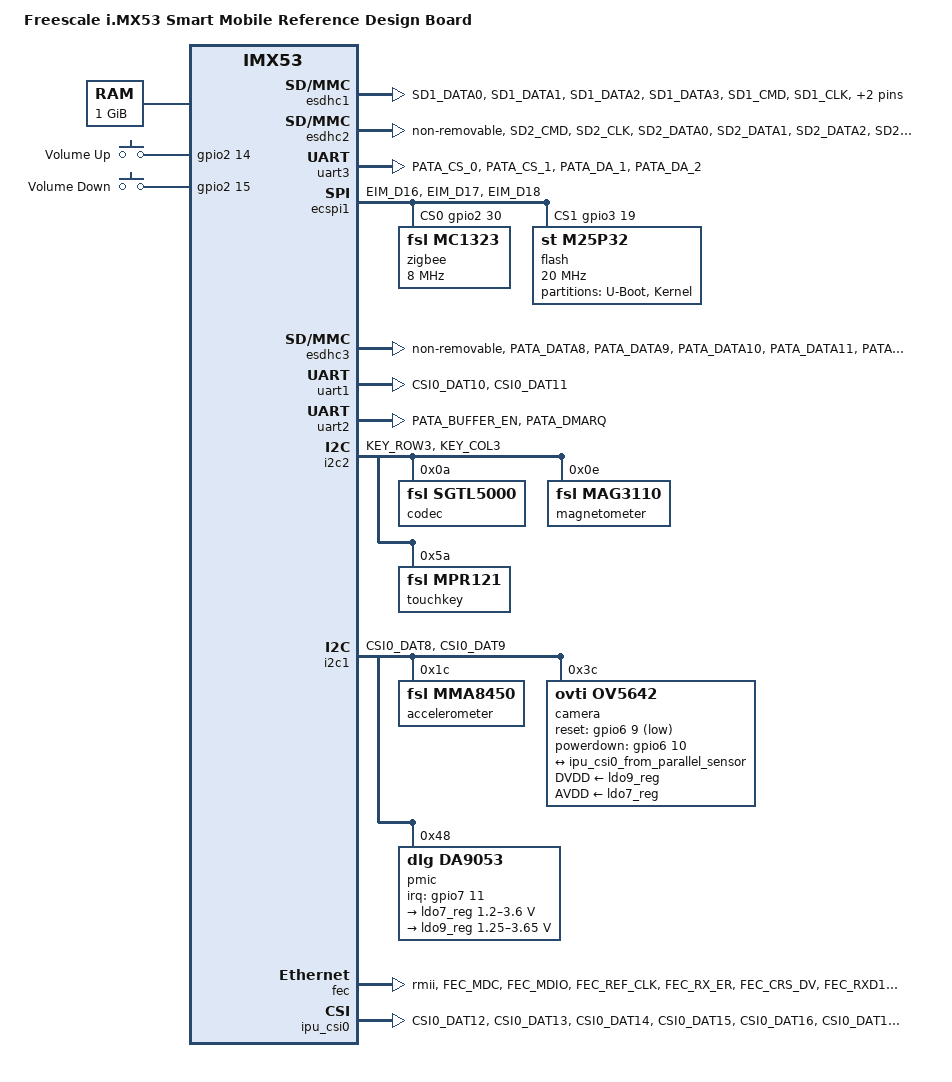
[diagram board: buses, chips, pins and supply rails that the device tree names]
// SPDX-License-Identifier: GPL-2.0+
//
// Copyright 2011 Freescale Semiconductor, Inc.
// Copyright 2011 Linaro Ltd.

/dts-v1/;
#include <dt-bindings/input/input.h>
#include "imx53.dtsi"

/ {
	model = "Freescale i.MX53 Smart Mobile Reference Design Board";
	compatible = "fsl,imx53-smd", "fsl,imx53";

	memory@70000000 {
		device_type = "memory";
		reg = <0x70000000 0x40000000>;
	};

	gpio-keys {
		compatible = "gpio-keys";

		volume-up {
			label = "Volume Up";
			gpios = <&gpio2 14 0>;
			linux,code = <KEY_VOLUMEUP>;
		};

		volume-down {
			label = "Volume Down";
			gpios = <&gpio2 15 0>;
			linux,code = <KEY_VOLUMEDOWN>;
		};
	};
};

&esdhc1 {
	pinctrl-names = "default";
	pinctrl-0 = <&pinctrl_esdhc1>;
	cd-gpios = <&gpio3 13 GPIO_ACTIVE_LOW>;
	wp-gpios = <&gpio4 11 GPIO_ACTIVE_HIGH>;
	status = "okay";
};

&esdhc2 {
	pinctrl-names = "default";
	pinctrl-0 = <&pinctrl_esdhc2>;
	non-removable;
	status = "okay";
};

&uart3 {
	pinctrl-names = "default";
	pinctrl-0 = <&pinctrl_uart3>;
	uart-has-rtscts;
	status = "okay";
};

&ecspi1 {
	pinctrl-names = "default";
	pinctrl-0 = <&pinctrl_ecspi1>;
	cs-gpios = <&gpio2 30 0>, <&gpio3 19 0>;
	status = "okay";

	zigbee: mc1323@0 {
		compatible = "fsl,mc1323";
		spi-max-frequency = <8000000>;
		reg = <0>;
	};

	flash: m25p32@1 {
		#address-cells = <1>;
		#size-cells = <1>;
		compatible = "st,m25p32", "st,m25p", "jedec,spi-nor";
		spi-max-frequency = <20000000>;
		reg = <1>;

		partition@0 {
			label = "U-Boot";
			reg = <0x0 0x40000>;
			read-only;
		};

		partition@40000 {
			label = "Kernel";
			reg = <0x40000 0x3c0000>;
		};
	};
};

&esdhc3 {
	pinctrl-names = "default";
	pinctrl-0 = <&pinctrl_esdhc3>;
	non-removable;
	status = "okay";
};

&iomuxc {
	pinctrl-names = "default";
	pinctrl-0 = <&pinctrl_hog>;

	imx53-smd {
		pinctrl_hog: hoggrp {
			fsl,pins = <
				MX53_PAD_PATA_DATA14__GPIO2_14 0x80000000
				MX53_PAD_PATA_DATA15__GPIO2_15 0x80000000
				MX53_PAD_EIM_EB2__GPIO2_30     0x80000000
				MX53_PAD_EIM_DA13__GPIO3_13    0x80000000
				MX53_PAD_EIM_D19__GPIO3_19     0x80000000
				MX53_PAD_KEY_ROW2__GPIO4_11    0x80000000
				MX53_PAD_PATA_DA_0__GPIO7_6    0x80000000
			>;
		};

		pinctrl_ecspi1: ecspi1grp {
			fsl,pins = <
				MX53_PAD_EIM_D16__ECSPI1_SCLK		0x80000000
				MX53_PAD_EIM_D17__ECSPI1_MISO		0x80000000
				MX53_PAD_EIM_D18__ECSPI1_MOSI		0x80000000
			>;
		};

		pinctrl_esdhc1: esdhc1grp {
			fsl,pins = <
				MX53_PAD_SD1_DATA0__ESDHC1_DAT0		0x1d5
				MX53_PAD_SD1_DATA1__ESDHC1_DAT1		0x1d5
				MX53_PAD_SD1_DATA2__ESDHC1_DAT2		0x1d5
				MX53_PAD_SD1_DATA3__ESDHC1_DAT3		0x1d5
				MX53_PAD_SD1_CMD__ESDHC1_CMD		0x1d5
				MX53_PAD_SD1_CLK__ESDHC1_CLK		0x1d5
			>;
		};

		pinctrl_esdhc2: esdhc2grp {
			fsl,pins = <
				MX53_PAD_SD2_CMD__ESDHC2_CMD		0x1d5
				MX53_PAD_SD2_CLK__ESDHC2_CLK		0x1d5
				MX53_PAD_SD2_DATA0__ESDHC2_DAT0		0x1d5
				MX53_PAD_SD2_DATA1__ESDHC2_DAT1		0x1d5
				MX53_PAD_SD2_DATA2__ESDHC2_DAT2		0x1d5
				MX53_PAD_SD2_DATA3__ESDHC2_DAT3		0x1d5
			>;
		};

		pinctrl_esdhc3: esdhc3grp {
			fsl,pins = <
				MX53_PAD_PATA_DATA8__ESDHC3_DAT0	0x1d5
				MX53_PAD_PATA_DATA9__ESDHC3_DAT1	0x1d5
				MX53_PAD_PATA_DATA10__ESDHC3_DAT2	0x1d5
				MX53_PAD_PATA_DATA11__ESDHC3_DAT3	0x1d5
				MX53_PAD_PATA_DATA0__ESDHC3_DAT4	0x1d5
				MX53_PAD_PATA_DATA1__ESDHC3_DAT5	0x1d5
				MX53_PAD_PATA_DATA2__ESDHC3_DAT6	0x1d5
				MX53_PAD_PATA_DATA3__ESDHC3_DAT7	0x1d5
				MX53_PAD_PATA_RESET_B__ESDHC3_CMD	0x1d5
				MX53_PAD_PATA_IORDY__ESDHC3_CLK		0x1d5
			>;
		};

		pinctrl_fec: fecgrp {
			fsl,pins = <
				MX53_PAD_FEC_MDC__FEC_MDC		0x80000000
				MX53_PAD_FEC_MDIO__FEC_MDIO		0x80000000
				MX53_PAD_FEC_REF_CLK__FEC_TX_CLK	0x80000000
				MX53_PAD_FEC_RX_ER__FEC_RX_ER		0x80000000
				MX53_PAD_FEC_CRS_DV__FEC_RX_DV		0x80000000
				MX53_PAD_FEC_RXD1__FEC_RDATA_1		0x80000000
				MX53_PAD_FEC_RXD0__FEC_RDATA_0		0x80000000
				MX53_PAD_FEC_TX_EN__FEC_TX_EN		0x80000000
				MX53_PAD_FEC_TXD1__FEC_TDATA_1		0x80000000
				MX53_PAD_FEC_TXD0__FEC_TDATA_0		0x80000000
			>;
		};

		pinctrl_i2c1: i2c1grp {
			fsl,pins = <
				MX53_PAD_CSI0_DAT8__I2C1_SDA		0xc0000000
				MX53_PAD_CSI0_DAT9__I2C1_SCL		0xc0000000
			>;
		};

		pinctrl_i2c2: i2c2grp {
			fsl,pins = <
				MX53_PAD_KEY_ROW3__I2C2_SDA		0xc0000000
				MX53_PAD_KEY_COL3__I2C2_SCL		0xc0000000
			>;
		};

		pinctrl_ipu_csi0: ipucsi0grp {
			fsl,pins = <
				MX53_PAD_CSI0_DAT12__IPU_CSI0_D_12    0x1c4
				MX53_PAD_CSI0_DAT13__IPU_CSI0_D_13    0x1c4
				MX53_PAD_CSI0_DAT14__IPU_CSI0_D_14    0x1c4
				MX53_PAD_CSI0_DAT15__IPU_CSI0_D_15    0x1c4
				MX53_PAD_CSI0_DAT16__IPU_CSI0_D_16    0x1c4
				MX53_PAD_CSI0_DAT17__IPU_CSI0_D_17    0x1c4
				MX53_PAD_CSI0_DAT18__IPU_CSI0_D_18    0x1c4
				MX53_PAD_CSI0_DAT19__IPU_CSI0_D_19    0x1c4
				MX53_PAD_CSI0_PIXCLK__IPU_CSI0_PIXCLK 0x1e4
				MX53_PAD_CSI0_VSYNC__IPU_CSI0_VSYNC   0x1e4
				MX53_PAD_CSI0_MCLK__IPU_CSI0_HSYNC    0x1e4
				MX53_PAD_CSI0_DATA_EN__IPU_CSI0_DATA_EN 0x1e4
			>;
		};

		pinctrl_ov5642: ov5642grp {
			fsl,pins = <
				MX53_PAD_NANDF_WP_B__GPIO6_9   0x1e4
				MX53_PAD_NANDF_RB0__GPIO6_10   0x1e4
				MX53_PAD_GPIO_0__CCM_SSI_EXT1_CLK 0x1c4
			>;
		};

		pinctrl_uart1: uart1grp {
			fsl,pins = <
				MX53_PAD_CSI0_DAT10__UART1_TXD_MUX	0x1e4
				MX53_PAD_CSI0_DAT11__UART1_RXD_MUX	0x1e4
			>;
		};

		pinctrl_uart2: uart2grp {
			fsl,pins = <
				MX53_PAD_PATA_BUFFER_EN__UART2_RXD_MUX	0x1e4
				MX53_PAD_PATA_DMARQ__UART2_TXD_MUX	0x1e4
			>;
		};

		pinctrl_uart3: uart3grp {
			fsl,pins = <
				MX53_PAD_PATA_CS_0__UART3_TXD_MUX	0x1e4
				MX53_PAD_PATA_CS_1__UART3_RXD_MUX	0x1e4
				MX53_PAD_PATA_DA_1__UART3_CTS		0x1e4
				MX53_PAD_PATA_DA_2__UART3_RTS		0x1e4
			>;
		};
	};
};

&uart1 {
	pinctrl-names = "default";
	pinctrl-0 = <&pinctrl_uart1>;
	status = "okay";
};

&uart2 {
	pinctrl-names = "default";
	pinctrl-0 = <&pinctrl_uart2>;
	status = "okay";
};

&i2c2 {
	pinctrl-names = "default";
	pinctrl-0 = <&pinctrl_i2c2>;
	status = "okay";

	codec: sgtl5000@a {
		compatible = "fsl,sgtl5000";
		reg = <0x0a>;
	};

	magnetometer: mag3110@e {
		compatible = "fsl,mag3110";
		reg = <0x0e>;
	};

	touchkey: mpr121@5a {
		compatible = "fsl,mpr121";
		reg = <0x5a>;
	};
};

&i2c1 {
	pinctrl-names = "default";
	pinctrl-0 = <&pinctrl_i2c1>;
	status = "okay";

	accelerometer: mma8450@1c {
		compatible = "fsl,mma8450";
		reg = <0x1c>;
	};

	camera: ov5642@3c {
		compatible = "ovti,ov5642";
		reg = <0x3c>;
		pinctrl-names = "default";
		pinctrl-0 = <&pinctrl_ov5642>;
		assigned-clocks = <&clks IMX5_CLK_SSI_EXT1_SEL>,
				  <&clks IMX5_CLK_SSI_EXT1_COM_SEL>;
		assigned-clock-parents = <&clks IMX5_CLK_PLL2_SW>,
					 <&clks IMX5_CLK_SSI_EXT1_PODF>;
		assigned-clock-rates = <0>, <24000000>;
		clocks = <&clks IMX5_CLK_SSI_EXT1_GATE>;
		clock-names = "xclk";
		DVDD-supply = <&ldo9_reg>;
		AVDD-supply = <&ldo7_reg>;
		reset-gpios = <&gpio6 9 GPIO_ACTIVE_LOW>;
		powerdown-gpios = <&gpio6 10 GPIO_ACTIVE_HIGH>;

		port {
			ov5642_to_ipu_csi0: endpoint {
				remote-endpoint = <&ipu_csi0_from_parallel_sensor>;
				bus-width = <8>;
				hsync-active = <1>;
				vsync-active = <1>;
			};
		};
	};

	pmic: dialog@48 {
		compatible = "dlg,da9053", "dlg,da9052";
		reg = <0x48>;
		interrupt-parent = <&gpio7>;
		interrupts = <11 IRQ_TYPE_LEVEL_LOW>;

		regulators {
			ldo7_reg: ldo7 {
				regulator-min-microvolt = <1200000>;
				regulator-max-microvolt = <3600000>;
			};

			ldo9_reg: ldo9 {
				regulator-min-microvolt = <1250000>;
				regulator-max-microvolt = <3650000>;
			};
		};
	};
};

&fec {
	pinctrl-names = "default";
	pinctrl-0 = <&pinctrl_fec>;
	phy-mode = "rmii";
	phy-reset-gpios = <&gpio7 6 GPIO_ACTIVE_LOW>;
	status = "okay";
};

&ipu_csi0_from_parallel_sensor {
	remote-endpoint = <&ov5642_to_ipu_csi0>;
	data-shift = <12>; /* Lines 19:12 used */
	hsync-active = <1>;
	vsync-active = <1>;
};

&ipu_csi0 {
	pinctrl-names = "default";
	pinctrl-0 = <&pinctrl_ipu_csi0>;
};
